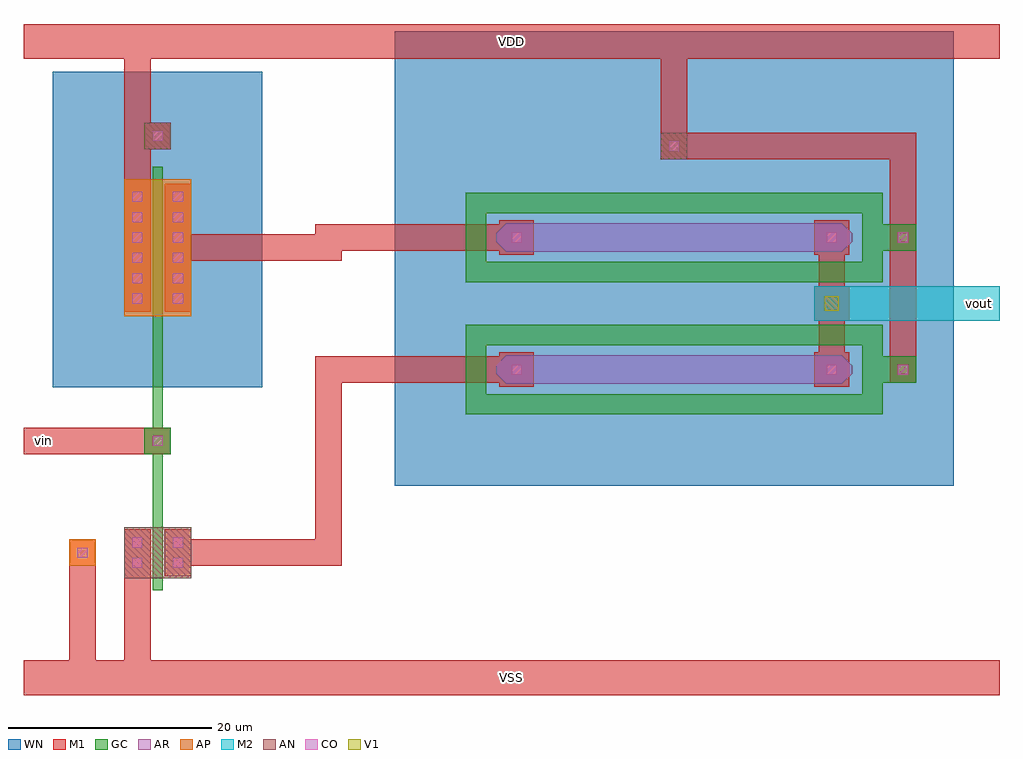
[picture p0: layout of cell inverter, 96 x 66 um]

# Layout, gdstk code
import gdstk
lib = gdstk.Library(unit=1e-6, precision=1e-09)
def R(c, l, rs):  # rectangles x0, y0, x1, y1
    for r in rs: c.add(gdstk.rectangle(r[:2], r[2:], *l))
def A(c, l, x, y, w, h, nx, ny, dx, dy):  # array of equal rectangles
    R(c, l, [(x+i*dx, y+j*dy, x+i*dx+w, y+j*dy+h) for i in range(nx) for j in range(ny)])
def P(c, l, *ps):  # polygons
    for p in ps: c.add(gdstk.Polygon(p, *l))
AP = (3, 1)
AN = (3, 2)
AR = (3, 3)
GC = (8, 1)
CO = (11, 0)
M1 = (13, 0)
V1 = (19, 0)
M2 = (20, 0)
WN = (140, 0)

fet_p = lib.new_cell('fet_p')
R(fet_p, AP, [(-3.3,-6.75,3.3,6.75)])
A(fet_p, CO, -2.5, -5.5, 1, 1, 1, 6, 0, 2)
A(fet_p, CO, 1.5, -5.5, 1, 1, 1, 6, 0, 2)
R(fet_p, M1, [(-3.3,-6.3,-0.7,6.3), (0.7,-6.3,3.3,6.3)])
fet_p.add(gdstk.FlexPath([(0,-7.95),(0,7.95)], 1, ends="flush", simple_path=True, layer=8, datatype=1))  # GC

fet_n = lib.new_cell('fet_n')
R(fet_n, AN, [(-3.3,-2.5,3.3,2.5)])
R(fet_n, CO, [(-2.5,-1.5,-1.5,-0.5), (1.5,-1.5,2.5,-0.5), (-2.5,0.5,-1.5,1.5), (1.5,0.5,2.5,1.5)])
R(fet_n, M1, [(-3.3,-2.3,-0.7,2.3), (0.7,-2.3,3.3,2.3)])
fet_n.add(gdstk.FlexPath([(0,-3.7),(0,3.7)], 1, ends="flush", simple_path=True, layer=8, datatype=1))  # GC

res_diff = lib.new_cell('res_diff')
P(res_diff, AR, [(-16.5,-1.4),(-17.5,-0.4),(-17.5,0.4),(-16.5,1.4),(16.5,1.4),(17.5,0.4),(17.5,-0.4),(16.5,-1.4)])
P(res_diff, GC, [(-20.5,-4.4),(-20.5,2.4),(-18.5,2.4),(-18.5,-2.4),(18.5,-2.4),(18.5,2.4),(-20.5,2.4),(-20.5,4.4),(20.5,4.4),(20.5,-4.4)])
R(res_diff, CO, [(-16,-0.5,-15,0.5), (15,-0.5,16,0.5)])
R(res_diff, M1, [(-17.2,-1.7,-13.8,1.7), (13.8,-1.7,17.2,1.7)])

cont_n = lib.new_cell('cont_n')
R(cont_n, AN, [(-1.3,-1.3,1.3,1.3)])
R(cont_n, CO, [(-0.5,-0.5,0.5,0.5)])
R(cont_n, M1, [(-1.3,-1.3,1.3,1.3)])

cont_p = lib.new_cell('cont_p')
R(cont_p, AP, [(-1.3,-1.3,1.3,1.3)])
R(cont_p, CO, [(-0.5,-0.5,0.5,0.5)])
R(cont_p, M1, [(-1.3,-1.3,1.3,1.3)])

cont_g = lib.new_cell('cont_g')
R(cont_g, GC, [(-1.3,-1.3,1.3,1.3)])
R(cont_g, CO, [(-0.5,-0.5,0.5,0.5)])
R(cont_g, M1, [(-1.3,-1.3,1.3,1.3)])

via_1 = lib.new_cell('via_1')
R(via_1, M1, [(-1.7,-1.7,1.7,1.7)])
R(via_1, V1, [(-0.7,-0.7,0.7,0.7)])
R(via_1, M2, [(-1.7,-1.7,1.7,1.7)])

inverter = lib.new_cell('inverter')
R(inverter, GC, [(12.7,13.5,13.7,44.5), (83.2,30.7,87.8,33.3), (83.2,43.7,87.8,46.3)])
R(inverter, M1, [(0,0,96,3.4), (4.5,0.4,7.1,15.3), (9.9,0.4,12.5,15.3), (13.9,12.7,31.3,15.3), (28.7,12.7,31.3,33.3), (0,23.7,13.2,26.3), (28.7,30.7,49.8,33.3), (78.2,30.7,80.8,46.3), (85.2,30.7,87.8,55.3), (9.9,42.7,12.5,65.6), (13.9,42.7,31.3,45.3), (28.7,42.7,31.3,46.3), (28.7,43.7,49.8,46.3), (62.7,52.7,65.3,65.6), (62.7,52.7,87.8,55.3), (9.9,53.7,14.5,56.3), (0,62.6,96,66)])
R(inverter, M2, [(79.5,36.8,96,40.2)])
R(inverter, WN, [(36.5,20.6,91.5,65.3), (2.9,30.25,23.5,61.3)])
inverter.add(gdstk.Reference(fet_p, (13.2,44)))
inverter.add(gdstk.Reference(fet_n, (13.2,14)))
inverter.add(gdstk.Reference(res_diff, (64,45)))
inverter.add(gdstk.Reference(res_diff, (64,32)))
inverter.add(gdstk.Reference(cont_n, (13.2,55)))
inverter.add(gdstk.Reference(cont_n, (64,54)))
inverter.add(gdstk.Reference(cont_p, (5.8,14)))
inverter.add(gdstk.Reference(cont_g, (86.5,32)))
inverter.add(gdstk.Reference(cont_g, (86.5,45)))
inverter.add(gdstk.Reference(cont_g, (13.2,25)))
inverter.add(gdstk.Reference(via_1, (79.5,38.5)))
inverter.add(gdstk.Label('vin', (2,25), layer=48, texttype=0))
inverter.add(gdstk.Label('VDD', (48,64.3), layer=48, texttype=0))
inverter.add(gdstk.Label('VSS', (48,1.7), layer=48, texttype=0))
inverter.add(gdstk.Label('vout', (94,38.5), layer=49, texttype=0))

lib.write_gds('inverter.gds')
